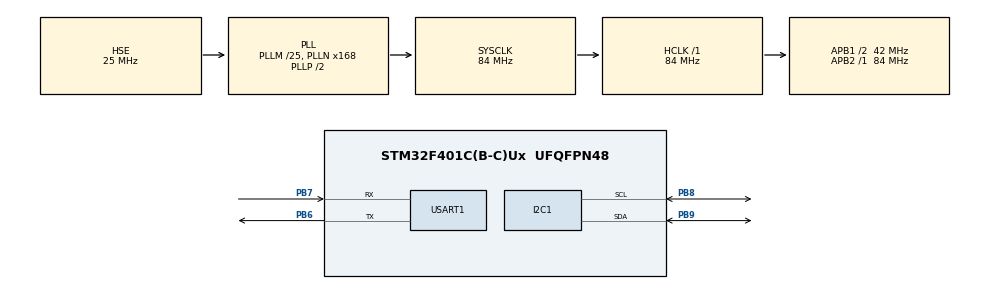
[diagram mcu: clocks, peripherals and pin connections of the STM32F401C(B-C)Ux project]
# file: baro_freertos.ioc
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FREERTOS.Mutexes01=mux1,Dynamic,NULL
FREERTOS.Queues01=Queue1,8,Data,0,Dynamic,NULL,NULL
FREERTOS.Tasks01=taskRead,24,128,StartTaskRead,Default,NULL,Dynamic,NULL,NULL;taskOut,8,128,StartTaskOut,Default,NULL,Dynamic,NULL,NULL
FREERTOS.configUSE_NEWLIB_REENTRANT=1
Mcu.Family=STM32F4
Mcu.Name=STM32F401C(B-C)Ux
Mcu.Package=UFQFPN48
NVIC.PriorityGroup=NVIC_PRIORITYGROUP_4
PA13.Mode=Serial_Wire
PA13.Signal=SYS_JTMS-SWDIO
PA14.Mode=Serial_Wire
PA14.Signal=SYS_JTCK-SWCLK
PB6.Mode=Asynchronous
PB6.Signal=USART1_TX
PB7.Mode=Asynchronous
PB7.Signal=USART1_RX
PB8.Mode=I2C
PB8.Signal=I2C1_SCL
PB9.Mode=I2C
PB9.Signal=I2C1_SDA
PH0\ -\ OSC_IN.Mode=HSE-External-Oscillator
PH0\ -\ OSC_IN.Signal=RCC_OSC_IN
PH1\ -\ OSC_OUT.Mode=HSE-External-Oscillator
PH1\ -\ OSC_OUT.Signal=RCC_OSC_OUT
ProjectManager.HeapSize=0x200
ProjectManager.StackSize=0x400
ProjectManager.TargetToolchain=STM32CubeIDE
RCC.48MHZClocksFreq_Value=42000000
RCC.AHBFreq_Value=84000000
RCC.APB1CLKDivider=RCC_HCLK_DIV2
RCC.APB1Freq_Value=42000000
RCC.APB1TimFreq_Value=84000000
RCC.APB2Freq_Value=84000000
RCC.APB2TimFreq_Value=84000000
RCC.CortexFreq_Value=84000000
RCC.HCLKFreq_Value=84000000
RCC.HSE_VALUE=25000000
RCC.HSI_VALUE=16000000
RCC.LSE_VALUE=32768
RCC.PLLM=25
RCC.PLLN=168
RCC.PLLSourceVirtual=RCC_PLLSOURCE_HSE
RCC.SYSCLKFreq_VALUE=84000000
RCC.SYSCLKSource=RCC_SYSCLKSOURCE_PLLCLK
RCC.VCOOutputFreq_Value=168000000
USART1.VirtualMode=VM_ASYNC
VP_FREERTOS_VS_CMSIS_V2.Mode=CMSIS_V2
board=custom

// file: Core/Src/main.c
/* USER CODE BEGIN Header */
/**
  ******************************************************************************
  * @file           : main.c
  * @brief          : Main program body
  ******************************************************************************
  * @attention
  *
  * Copyright (c) 2022 STMicroelectronics.
  * All rights reserved.
  *
  * This software is licensed under terms that can be found in the LICENSE file
  * in the root directory of this software component.
  * If no LICENSE file comes with this software, it is provided AS-IS.
  *
  ******************************************************************************
  */
/* USER CODE END Header */
#include "main.h"
#include "cmsis_os.h"

/* USER CODE BEGIN Includes */
#include "baro.h"
#include <stdio.h>
#include <string.h>
/* USER CODE END Includes */

/* USER CODE BEGIN PTD */
typedef struct{
	uint32_t press;
	uint32_t temp;
}Data;
/* USER CODE END PTD */

/* USER CODE BEGIN PM */
#define countof(_a)	(sizeof(_a) / sizeof(_a[0]))
/* USER CODE END PM */

I2C_HandleTypeDef hi2c1;

UART_HandleTypeDef huart1;

/* Definitions for taskRead */
osThreadId_t taskReadHandle;
const osThreadAttr_t taskRead_attributes = {
  .name = "taskRead",
  .stack_size = 128 * 4,
  .priority = (osPriority_t) osPriorityNormal,
};
/* Definitions for taskOut */
osThreadId_t taskOutHandle;
const osThreadAttr_t taskOut_attributes = {
  .name = "taskOut",
  .stack_size = 128 * 4,
  .priority = (osPriority_t) osPriorityLow,
};
/* Definitions for Queue1 */
osMessageQueueId_t Queue1Handle;
const osMessageQueueAttr_t Queue1_attributes = {
  .name = "Queue1"
};
/* Definitions for mux1 */
osMutexId_t mux1Handle;
const osMutexAttr_t mux1_attributes = {
  .name = "mux1"
};
/* USER CODE BEGIN PV */
char text[100];
/* USER CODE END PV */

void SystemClock_Config(void);
static void MX_GPIO_Init(void);
static void MX_I2C1_Init(void);
static void MX_USART1_UART_Init(void);
void StartTaskRead(void *argument);
void StartTaskOut(void *argument);

int main(void)
{

  /* MCU Configuration--------------------------------------------------------*/

  /* Reset of all peripherals, Initializes the Flash interface and the Systick. */
  HAL_Init();

  /* Configure the system clock */
  SystemClock_Config();

  /* Initialize all configured peripherals */
  MX_GPIO_Init();
  MX_I2C1_Init();
  MX_USART1_UART_Init();
  /* USER CODE BEGIN 2 */

    if (baro_init() != BARO_OK)
    {
  	  snprintf(text, countof(text), "error init baro");
  	  HAL_UART_Transmit(&huart1, (uint8_t*)text, strnlen(text, countof(text)), HAL_MAX_DELAY);
  	  while(1){}
    }

  /* USER CODE END 2 */

  /* Init scheduler */
  osKernelInitialize();
  /* Create the mutex(es) */
  /* creation of mux1 */
  mux1Handle = osMutexNew(&mux1_attributes);

  /* Create the queue(s) */
  /* creation of Queue1 */
  Queue1Handle = osMessageQueueNew (8, sizeof(Data), &Queue1_attributes);

  /* Create the thread(s) */
  /* creation of taskRead */
  taskReadHandle = osThreadNew(StartTaskRead, NULL, &taskRead_attributes);

  /* creation of taskOut */
  taskOutHandle = osThreadNew(StartTaskOut, NULL, &taskOut_attributes);

  /* Start scheduler */
  osKernelStart();

  /* We should never get here as control is now taken by the scheduler */
  /* Infinite loop */
  while (1)
  {

  }
}

void SystemClock_Config(void)
{
  RCC_OscInitTypeDef RCC_OscInitStruct = {0};
  RCC_ClkInitTypeDef RCC_ClkInitStruct = {0};

  /** Configure the main internal regulator output voltage
  */
  __HAL_RCC_PWR_CLK_ENABLE();
  __HAL_PWR_VOLTAGESCALING_CONFIG(PWR_REGULATOR_VOLTAGE_SCALE2);

  /** Initializes the RCC Oscillators according to the specified parameters
  * in the RCC_OscInitTypeDef structure.
  */
  RCC_OscInitStruct.OscillatorType = RCC_OSCILLATORTYPE_HSE;
  RCC_OscInitStruct.HSEState = RCC_HSE_ON;
  RCC_OscInitStruct.PLL.PLLState = RCC_PLL_ON;
  RCC_OscInitStruct.PLL.PLLSource = RCC_PLLSOURCE_HSE;
  RCC_OscInitStruct.PLL.PLLM = 25;
  RCC_OscInitStruct.PLL.PLLN = 168;
  RCC_OscInitStruct.PLL.PLLP = RCC_PLLP_DIV2;
  RCC_OscInitStruct.PLL.PLLQ = 4;
  if (HAL_RCC_OscConfig(&RCC_OscInitStruct) != HAL_OK)
  {
    Error_Handler();
  }

  /** Initializes the CPU, AHB and APB buses clocks
  */
  RCC_ClkInitStruct.ClockType = RCC_CLOCKTYPE_HCLK|RCC_CLOCKTYPE_SYSCLK
                              |RCC_CLOCKTYPE_PCLK1|RCC_CLOCKTYPE_PCLK2;
  RCC_ClkInitStruct.SYSCLKSource = RCC_SYSCLKSOURCE_PLLCLK;
  RCC_ClkInitStruct.AHBCLKDivider = RCC_SYSCLK_DIV1;
  RCC_ClkInitStruct.APB1CLKDivider = RCC_HCLK_DIV2;
  RCC_ClkInitStruct.APB2CLKDivider = RCC_HCLK_DIV1;

  if (HAL_RCC_ClockConfig(&RCC_ClkInitStruct, FLASH_LATENCY_2) != HAL_OK)
  {
    Error_Handler();
  }
}

static void MX_I2C1_Init(void)
{

  hi2c1.Instance = I2C1;
  hi2c1.Init.ClockSpeed = 100000;
  hi2c1.Init.DutyCycle = I2C_DUTYCYCLE_2;
  hi2c1.Init.OwnAddress1 = 0;
  hi2c1.Init.AddressingMode = I2C_ADDRESSINGMODE_7BIT;
  hi2c1.Init.DualAddressMode = I2C_DUALADDRESS_DISABLE;
  hi2c1.Init.OwnAddress2 = 0;
  hi2c1.Init.GeneralCallMode = I2C_GENERALCALL_DISABLE;
  hi2c1.Init.NoStretchMode = I2C_NOSTRETCH_DISABLE;
  if (HAL_I2C_Init(&hi2c1) != HAL_OK)
  {
    Error_Handler();
  }

}

static void MX_USART1_UART_Init(void)
{

  huart1.Instance = USART1;
  huart1.Init.BaudRate = 115200;
  huart1.Init.WordLength = UART_WORDLENGTH_8B;
  huart1.Init.StopBits = UART_STOPBITS_1;
  huart1.Init.Parity = UART_PARITY_NONE;
  huart1.Init.Mode = UART_MODE_TX_RX;
  huart1.Init.HwFlowCtl = UART_HWCONTROL_NONE;
  huart1.Init.OverSampling = UART_OVERSAMPLING_16;
  if (HAL_UART_Init(&huart1) != HAL_OK)
  {
    Error_Handler();
  }

}

static void MX_GPIO_Init(void)
{

  /* GPIO Ports Clock Enable */
  __HAL_RCC_GPIOH_CLK_ENABLE();
  __HAL_RCC_GPIOA_CLK_ENABLE();
  __HAL_RCC_GPIOB_CLK_ENABLE();

}

void StartTaskRead(void *argument)
{
  /* USER CODE BEGIN 5 */
  /* Infinite loop */
	Data data;
  for(;;)
  {
	  osMutexAcquire(mux1Handle, osWaitForever);
	  data.temp = baro_read_temp();
	  data.press = baro_read_press();
	  osMessageQueuePut(Queue1Handle, &data, 0, osWaitForever);
	  osMutexRelease(mux1Handle);

	  osDelay(pdMS_TO_TICKS(100));
  }
  /* USER CODE END 5 */
}

void StartTaskOut(void *argument)
{
  /* USER CODE BEGIN StartTaskOut */
  /* Infinite loop */
	Data data;
  for(;;)
  {
	  osMutexAcquire(mux1Handle, osWaitForever);
	  if(osMessageQueueGet(Queue1Handle, &data, 0, osWaitForever) == osOK)
	  {
		  snprintf(text, countof(text), "/*%ld.%02ld,%ld.%02ld*/\n", data.temp/100, data.temp%100, data.press/100, data.press%100);
		  HAL_UART_Transmit(&huart1, (uint8_t*)text, strnlen(text, countof(text)), 1000);
	  }
	  osMutexRelease(mux1Handle);

	  osDelay(pdMS_TO_TICKS(100));
  }
  /* USER CODE END StartTaskOut */
}

void Error_Handler(void)
{
  __disable_irq();
  while (1)
  {
  }
}
